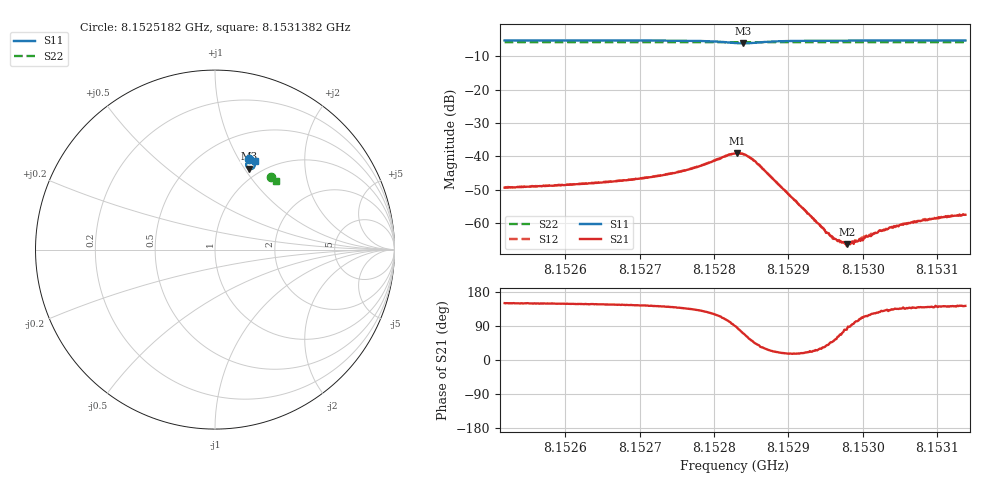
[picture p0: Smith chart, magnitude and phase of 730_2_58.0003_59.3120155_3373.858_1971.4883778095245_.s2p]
#  HZ  S  RI  R  50.00
! Rohde & Schwarz Vector Network Analyzer
! Rohde-Schwarz,ZNB20-2Port,1311601062101988,3.16
! Created: UTC 3/21/2024, 1:23:03 AM
! freq[Hz]  re:S11  im:S11  re:S21  im:S21  re:S12  im:S12  re:S22  im:S22
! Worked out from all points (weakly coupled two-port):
!   401 points, 8.1525182 GHz to 8.1531382 GHz, reference 50 ohm
!   highest |S21| = -39.01 dB at 8.1528313 GHz (marker M1); lowest = -66.3 dB at 8.1529786 GHz (marker M2)
!   lowest |S11| = -6.2 dB at 8.1528391 GHz (marker M3), VSWR 2.91, Z = 44.2 + j52.3 ohm
!   |S11| at or under -10 dB: nowhere
!   |S22| runs from -5.9 to -5.8 dB; largest |S21 - S12| = 0.00046
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8.15251821e9  0.191 0.5055  -0.00295 0.0017  -0.00296 0.00176  0.3116 0.405
8.15262207e9  0.2 0.5018  -0.00328 0.00207  -0.0033 0.00216  0.3169 0.4007
8.15267787e9  0.2056 0.4989  -0.00362 0.00247  -0.0036 0.00255  0.3197 0.3986
8.15272592e9  0.2115 0.4949  -0.00402 0.00317  -0.00403 0.00322  0.3221 0.3965
8.15276932e9  0.2186 0.4871  -0.00455 0.00466  -0.00456 0.0048  0.3242 0.3943
8.15280807e9  0.2216 0.467  -0.00395 0.00836  -0.00377 0.00865  0.3258 0.392
8.15282822e9  0.2061 0.4499  1.24e-05 0.0111  0.000307 0.0112  0.3259 0.3909
8.15283132e9  0.2014 0.4488  0.000974 0.0112  0.00144 0.0111  0.3257 0.3908
8.15283907e9  0.1887 0.4503  0.00361 0.0102  0.00392 0.0102  0.3258 0.3907
8.15284992e9  0.1761 0.4617  0.00576 0.00739  0.00591 0.0072  0.3259 0.391
8.15285767e9  0.1734 0.4718  0.0059 0.00521  0.00605 0.00518  0.3264 0.3912
8.15293208e9  0.1972 0.498  0.00113 0.000458  0.00113 0.000452  0.3311 0.3886
8.15295843e9  0.2022 0.4982  0.000437 0.000468  0.000407 0.000483  0.3325 0.3874
8.15296928e9  0.2039 0.498  0.000214 0.000507  0.000207 0.000479  0.333 0.3869
8.15297858e9  0.2053 0.4979  8.28e-05 0.000478  3.85e-05 0.000454  0.3334 0.3866
8.15298788e9  0.2065 0.4977  -4.72e-05 0.000491  -7.68e-05 0.0005  0.3339 0.3861
8.15300028e9  0.2082 0.4973  -0.000206 0.000518  -0.000205 0.000555  0.3345 0.3856
8.15302043e9  0.2105 0.4969  -0.000418 0.000602  -0.000434 0.000605  0.3354 0.3849
8.15303593e9  0.2121 0.4965  -0.000572 0.00065  -0.000541 0.000663  0.3362 0.384
8.15305298e9  0.214 0.4959  -0.000691 0.000667  -0.000692 0.000683  0.337 0.3834
8.15308243e9  0.2166 0.495  -0.000858 0.000744  -0.000871 0.000735  0.3385 0.3821
8.15313823e9  0.2213 0.4934  -0.00107 0.000811  -0.00107 0.000852  0.3412 0.3795
